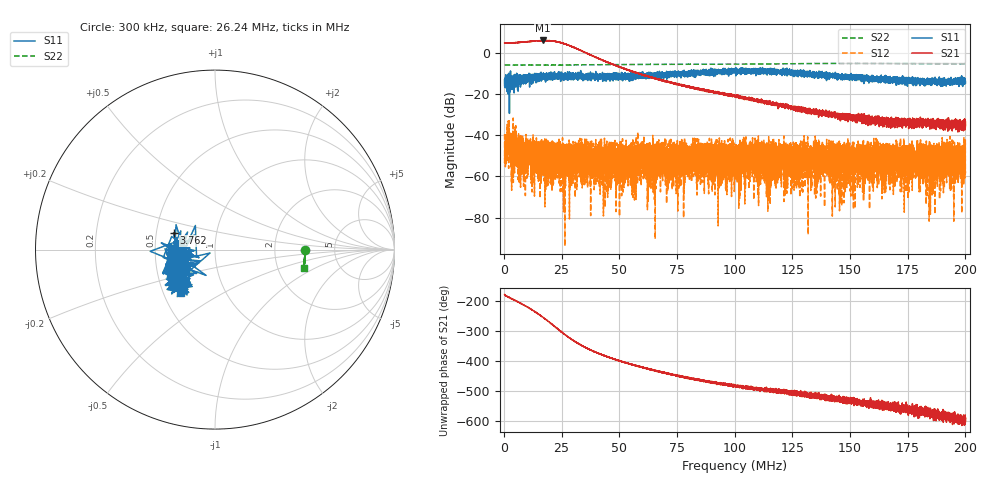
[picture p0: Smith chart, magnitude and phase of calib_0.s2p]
# Hz S DB R 50
! CMT, M5065, 19127446, 24.2.4/2
! Date: 11/8/2024 3:33:06 PM
! Data: Format (Calibration Info)
! Freq	S11:dB/Ang(F2)	S21:dB/Ang(F2)	S12:dB/Ang(F2)	S22:dB/Ang(F2)
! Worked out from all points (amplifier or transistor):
!   9000 points, 300 kHz to 200 MHz, reference 50 ohm
!   highest |S21| = 5.9 dB at 16.79 MHz (marker M1)
!   |S21| within 3 dB of that: start of sweep to 29.44 MHz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
!   unconditionally stable (mu >= 1): start of sweep to end of sweep
!   at 33.59 MHz: K = 370.69, MAG = 2.7 dB, |S12| = -61.9 dB
!   at 100.2 MHz: K = 1861.06, MAG = -19.0 dB, |S12| = -54.3 dB
!   at 200 MHz: K = 14555.72, MAG = -33.7 dB, |S12| = -57.3 dB
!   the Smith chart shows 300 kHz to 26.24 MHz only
!   S11 on the Smith chart (normalised r, x): 300 kHz: 0.73, -0.03; 3.762 MHz: 0.62, +0.12; 26.24 MHz: 0.62, -0.33
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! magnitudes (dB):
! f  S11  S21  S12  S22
! 300 kHz  -15.9  4.7  -39.5  -6.0
! 3.762 MHz  -12.1  4.7  -53.3  -6.0
! 9.066 MHz  -12.9  5.2  -43.6  -6.0
! 16.79 MHz  -10.4  5.9  -48.5  -6.0
! 26.24 MHz  -10.4  4.4  -57.9  -5.9
! 33.59 MHz  -10.1  1.0  -61.9  -5.9
! 44.13 MHz  -12.7  -4.3  -56.6  -5.8
! 46.21 MHz  -10.8  -5.2  -52.5  -5.8
! 49.3 MHz  -11.0  -6.5  -48.6  -5.8
! 53.67 MHz  -10.6  -8.3  -49.7  -5.7
! 55.82 MHz  -12.4  -9.3  -55.4  -5.7
! 58.31 MHz  -12.0  -10.1  -46.2  -5.7
! 66.87 MHz  -10.8  -12.9  -48.8  -5.7
! 100.2 MHz  -9.4  -21.0  -54.3  -5.6
! 133.4 MHz  -11.2  -28.4  -64.2  -5.3
! 166.7 MHz  -13.5  -32.4  -63.7  -5.2
! 170.5 MHz  -12.8  -36.4  -45.4  -5.2
! 174.2 MHz  -12.8  -34.0  -53.2  -5.2
! 192.2 MHz  -13.4  -34.5  -57.7  -5.3
! 194.2 MHz  -13.7  -35.2  -52.2  -5.3
! 196.8 MHz  -14.8  -34.7  -62.9  -5.3
! 200 MHz  -14.1  -35.4  -57.3  -5.3
